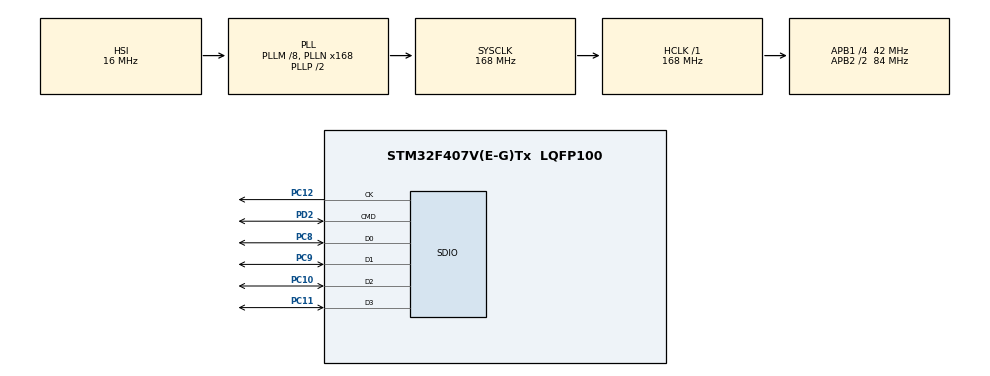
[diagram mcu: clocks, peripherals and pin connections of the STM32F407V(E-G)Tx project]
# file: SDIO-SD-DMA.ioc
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Dma.Request0=SDIO_RX
Dma.Request1=SDIO_TX
Dma.SDIO_RX.0.Direction=DMA_PERIPH_TO_MEMORY
Dma.SDIO_RX.0.FIFOMode=DMA_FIFOMODE_ENABLE
Dma.SDIO_RX.0.FIFOThreshold=DMA_FIFO_THRESHOLD_FULL
Dma.SDIO_RX.0.Instance=DMA2_Stream3
Dma.SDIO_RX.0.MemBurst=DMA_MBURST_INC4
Dma.SDIO_RX.0.MemDataAlignment=DMA_MDATAALIGN_WORD
Dma.SDIO_RX.0.MemInc=DMA_MINC_ENABLE
Dma.SDIO_RX.0.Mode=DMA_PFCTRL
Dma.SDIO_RX.0.PeriphBurst=DMA_PBURST_INC4
Dma.SDIO_RX.0.PeriphDataAlignment=DMA_PDATAALIGN_WORD
Dma.SDIO_RX.0.PeriphInc=DMA_PINC_DISABLE
Dma.SDIO_RX.0.Priority=DMA_PRIORITY_LOW
Dma.SDIO_TX.1.Direction=DMA_MEMORY_TO_PERIPH
Dma.SDIO_TX.1.FIFOMode=DMA_FIFOMODE_ENABLE
Dma.SDIO_TX.1.FIFOThreshold=DMA_FIFO_THRESHOLD_FULL
Dma.SDIO_TX.1.Instance=DMA2_Stream6
Dma.SDIO_TX.1.MemBurst=DMA_MBURST_INC4
Dma.SDIO_TX.1.MemDataAlignment=DMA_MDATAALIGN_WORD
Dma.SDIO_TX.1.MemInc=DMA_MINC_ENABLE
Dma.SDIO_TX.1.Mode=DMA_PFCTRL
Dma.SDIO_TX.1.PeriphBurst=DMA_PBURST_INC4
Dma.SDIO_TX.1.PeriphDataAlignment=DMA_PDATAALIGN_WORD
Dma.SDIO_TX.1.PeriphInc=DMA_PINC_DISABLE
Dma.SDIO_TX.1.Priority=DMA_PRIORITY_LOW
Mcu.Family=STM32F4
Mcu.Name=STM32F407V(E-G)Tx
Mcu.Package=LQFP100
NVIC.DMA2_Stream3_IRQn=true\:0\:0\:false\:false\:true\:false\:true
NVIC.DMA2_Stream6_IRQn=true\:0\:0\:false\:false\:true\:false\:true
NVIC.PriorityGroup=NVIC_PRIORITYGROUP_4
NVIC.SDIO_IRQn=true\:0\:0\:false\:false\:true\:true\:true
PC10.Mode=SD_4_bits_Wide_bus
PC10.Signal=SDIO_D2
PC11.Mode=SD_4_bits_Wide_bus
PC11.Signal=SDIO_D3
PC12.Mode=SD_4_bits_Wide_bus
PC12.Signal=SDIO_CK
PC8.Mode=SD_4_bits_Wide_bus
PC8.Signal=SDIO_D0
PC9.Mode=SD_4_bits_Wide_bus
PC9.Signal=SDIO_D1
PD2.Mode=SD_4_bits_Wide_bus
PD2.Signal=SDIO_CMD
ProjectManager.HeapSize=0x200
ProjectManager.StackSize=0x400
ProjectManager.TargetToolchain=MDK-ARM V5.27
RCC.48MHZClocksFreq_Value=48000000
RCC.AHBFreq_Value=168000000
RCC.APB1CLKDivider=RCC_HCLK_DIV4
RCC.APB1Freq_Value=42000000
RCC.APB1TimFreq_Value=84000000
RCC.APB2CLKDivider=RCC_HCLK_DIV2
RCC.APB2Freq_Value=84000000
RCC.APB2TimFreq_Value=168000000
RCC.CortexFreq_Value=168000000
RCC.HCLKFreq_Value=168000000
RCC.HSE_VALUE=25000000
RCC.HSI_VALUE=16000000
RCC.LSE_VALUE=32768
RCC.PLLM=8
RCC.PLLN=168
RCC.PLLQ=7
RCC.SYSCLKFreq_VALUE=168000000
RCC.SYSCLKSource=RCC_SYSCLKSOURCE_PLLCLK
RCC.VCOOutputFreq_Value=336000000
SDIO.ClockDiv=6
board=custom

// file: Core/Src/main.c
/* USER CODE BEGIN Header */
/**
  ******************************************************************************
  * @file           : main.c
  * @brief          : Main program body
  ******************************************************************************
  * @attention
  *
  * <h2><center>&copy; Copyright (c) 2024 STMicroelectronics.
  * All rights reserved.</center></h2>
  *
  * This software component is licensed by ST under BSD 3-Clause license,
  * the "License"; You may not use this file except in compliance with the
  * License. You may obtain a copy of the License at:
  *                        opensource.org/licenses/BSD-3-Clause
  *
  ******************************************************************************
  */
/* USER CODE END Header */
#include "main.h"
#include "dma.h"
#include "sdio.h"
#include "gpio.h"

/* USER CODE BEGIN Includes */
#include "ALCD.h"
/* USER CODE END Includes */

/* USER CODE BEGIN PD */
#define BLK_SIZE        512
/* USER CODE END PD */

/* USER CODE BEGIN PV */
static __ALIGN_BEGIN const char TEMPLATE[BLK_SIZE] __ALIGN_END = "Block DMA";

static __ALIGN_BEGIN char buff[BLK_SIZE] __ALIGN_END = {0};

static uint8_t txFlag     = 0;
static uint8_t rxFlag     = 0;
static uint8_t rxDisplay  = 0;
/* USER CODE END PV */

void SystemClock_Config(void);

int main(void)
{

  /* MCU Configuration--------------------------------------------------------*/

  /* Reset of all peripherals, Initializes the Flash interface and the Systick. */
  HAL_Init();

  /* Configure the system clock */
  SystemClock_Config();

  /* Initialize all configured peripherals */
  MX_GPIO_Init();
  MX_DMA_Init();
  MX_SDIO_SD_Init();
  /* USER CODE BEGIN 2 */
  ALCD_init(16, 2);
  ALCD_clear();
  /* USER CODE END 2 */

  /* Infinite loop */
  /* USER CODE BEGIN WHILE */
  txFlag = 1;
  while (1)
  {
    // Write Block
    if (txFlag && HAL_SD_GetCardState(&hsd) == HAL_SD_CARD_TRANSFER) {
      txFlag = 0;
      if (HAL_SD_WriteBlocks_DMA(&hsd, (uint8_t*) TEMPLATE, 0, sizeof(TEMPLATE) / BLK_SIZE) != HAL_OK) {
        ALCD_putsXY(0, 1, "Write Failed!");
        Error_Handler();
      }
    }

    // Read Block
    if (rxFlag && HAL_SD_GetCardState(&hsd) == HAL_SD_CARD_TRANSFER) {
      rxFlag = 0;
      if (HAL_SD_ReadBlocks_DMA(&hsd, (uint8_t*) buff, 0, sizeof(buff) / BLK_SIZE) != HAL_OK) {
        ALCD_putsXY(0, 1, "Read Failed!");
        Error_Handler();
      }
    }

    // Display Block
    if (rxDisplay) {
      rxDisplay = 0;
      ALCD_putsXY(0, 0, buff);
    }

    /* USER CODE END WHILE */

  }
}

void SystemClock_Config(void)
{
  RCC_OscInitTypeDef RCC_OscInitStruct = {0};
  RCC_ClkInitTypeDef RCC_ClkInitStruct = {0};

  /** Configure the main internal regulator output voltage
  */
  __HAL_RCC_PWR_CLK_ENABLE();
  __HAL_PWR_VOLTAGESCALING_CONFIG(PWR_REGULATOR_VOLTAGE_SCALE1);
  /** Initializes the RCC Oscillators according to the specified parameters
  * in the RCC_OscInitTypeDef structure.
  */
  RCC_OscInitStruct.OscillatorType = RCC_OSCILLATORTYPE_HSI;
  RCC_OscInitStruct.HSIState = RCC_HSI_ON;
  RCC_OscInitStruct.HSICalibrationValue = RCC_HSICALIBRATION_DEFAULT;
  RCC_OscInitStruct.PLL.PLLState = RCC_PLL_ON;
  RCC_OscInitStruct.PLL.PLLSource = RCC_PLLSOURCE_HSI;
  RCC_OscInitStruct.PLL.PLLM = 8;
  RCC_OscInitStruct.PLL.PLLN = 168;
  RCC_OscInitStruct.PLL.PLLP = RCC_PLLP_DIV2;
  RCC_OscInitStruct.PLL.PLLQ = 7;
  if (HAL_RCC_OscConfig(&RCC_OscInitStruct) != HAL_OK)
  {
    Error_Handler();
  }
  /** Initializes the CPU, AHB and APB buses clocks
  */
  RCC_ClkInitStruct.ClockType = RCC_CLOCKTYPE_HCLK|RCC_CLOCKTYPE_SYSCLK
                              |RCC_CLOCKTYPE_PCLK1|RCC_CLOCKTYPE_PCLK2;
  RCC_ClkInitStruct.SYSCLKSource = RCC_SYSCLKSOURCE_PLLCLK;
  RCC_ClkInitStruct.AHBCLKDivider = RCC_SYSCLK_DIV1;
  RCC_ClkInitStruct.APB1CLKDivider = RCC_HCLK_DIV4;
  RCC_ClkInitStruct.APB2CLKDivider = RCC_HCLK_DIV2;

  if (HAL_RCC_ClockConfig(&RCC_ClkInitStruct, FLASH_LATENCY_5) != HAL_OK)
  {
    Error_Handler();
  }
}

/* USER CODE BEGIN 4 */
void HAL_SD_TxCpltCallback(SD_HandleTypeDef* hsd) {
  rxFlag = 1;
}
void HAL_SD_RxCpltCallback(SD_HandleTypeDef* hsd) {
  rxDisplay = 1;
}
/* USER CODE END 4 */

void Error_Handler(void)
{
  __disable_irq();
  while (1)
  {
  }
}

/************************ (C) COPYRIGHT STMicroelectronics *****END OF FILE****/
